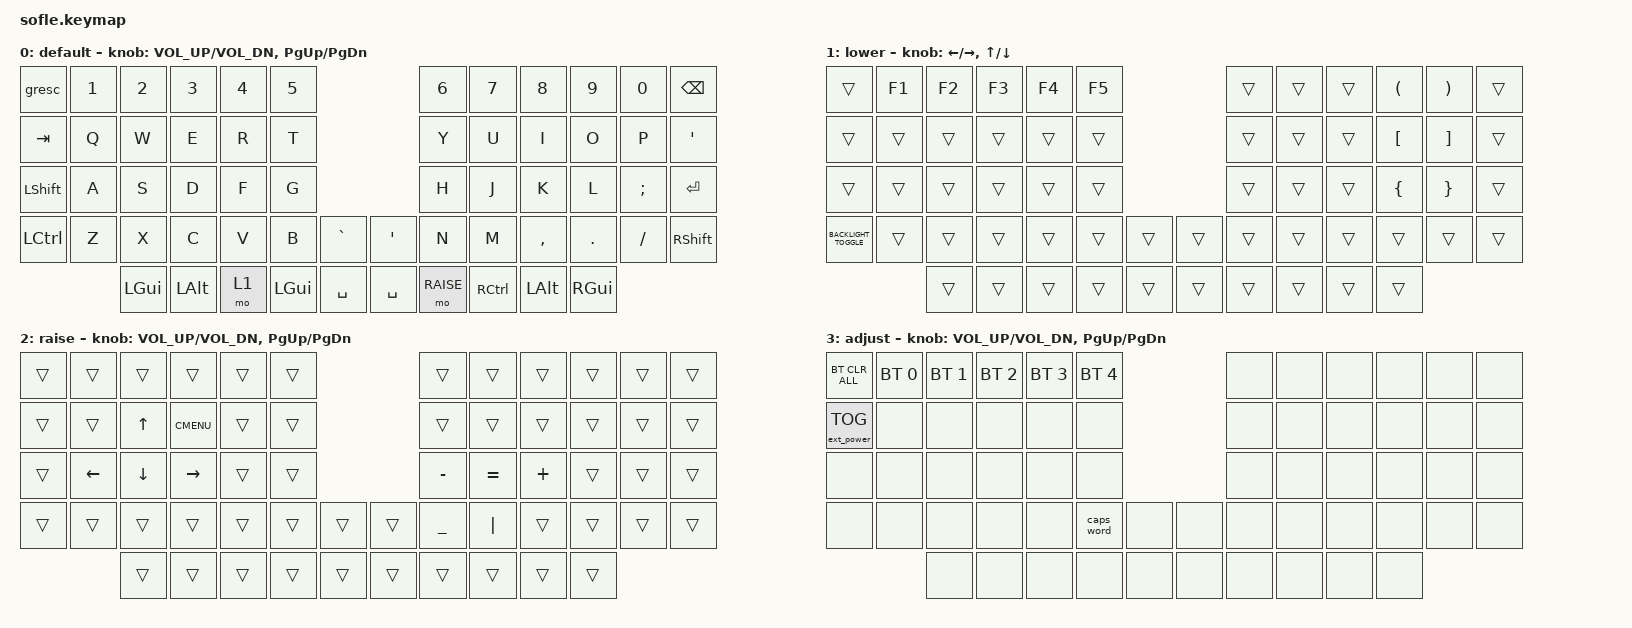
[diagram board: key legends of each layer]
/*
 * Copyright (c) 2020 The ZMK Contributors
 *
 * SPDX-License-Identifier: MIT
 */

#include <behaviors.dtsi>
#include <dt-bindings/zmk/bt.h>
#include <dt-bindings/zmk/ext_power.h>
#include <dt-bindings/zmk/keys.h>

#define BASE 0
#define LOWER 1
#define RAISE 2
#define ADJUST 3

/ {
    // Activate ADJUST layer by pressing raise and lower

    conditional_layers {
        compatible = "zmk,conditional-layers";

        adjust_layer {
            if-layers = <LOWER RAISE>;
            then-layer = <ADJUST>;
        };
    };

    combos {
        compatible = "zmk,combos";

        backspace {
            bindings = <&kp BACKSPACE>;
            key-positions = <32 31>;
        };

        delete {
            bindings = <&kp DELETE>;
            key-positions = <27 33>;
        };

        esc {
            bindings = <&kp ESCAPE>;
            key-positions = <25 41>;
        };
    };

    behaviors {
        caps: caps {
            compatible = "zmk,behavior-caps-word";
            label = "CAPS";
            #binding-cells = <0>;
            continue-list = <POUND MINUS BACKSPACE UNDERSCORE>;
        };
    };

    keymap {
        compatible = "zmk,keymap";

        default_layer {
            display-name = "default";

            // ------------------------------------------------------------------------------------------------------------
            // |   `   |  1  |  2  |  3   |  4   |  5   |                   |  6   |  7    |  8    |  9   |   0   |       |
            // |  ESC  |  Q  |  W  |  E   |  R   |  T   |                   |  Y   |  U    |  I    |  O   |   P   | BKSPC |
            // |  TAB  |  A  |  S  |  D   |  F   |  G   |                   |  H   |  J    |  K    |  L   |   ;   |   '   |
            // | SHIFT |  Z  |  X  |  C   |  V   |  B   |  MUTE  |  |       |  N   |  M    |  ,    |  .   |   /   | SHIFT |
            //               | GUI | ALT  | CTRL | LOWER|  ENTER |  | SPACE | RAISE| CTRL  | ALT   | GUI  |

            bindings = <
&gresc            &kp N1  &kp N2    &kp N3    &kp N4  &kp N5                                &kp N6     &kp N7     &kp N8     &kp N9    &kp N0    &kp BACKSPACE
&kp TAB           &kp Q   &kp W     &kp E     &kp R   &kp T                                 &kp Y      &kp U      &kp I      &kp O     &kp P     &kp SINGLE_QUOTE
&kp LEFT_SHIFT    &kp A   &kp S     &kp D     &kp F   &kp G                                 &kp H      &kp J      &kp K      &kp L     &kp SEMI  &kp ENTER
&kp LEFT_CONTROL  &kp Z   &kp X     &kp C     &kp V   &kp B         &kp GRAVE    &kp APOS   &kp N      &kp M      &kp COMMA  &kp DOT   &kp FSLH  &kp RSHFT
                          &kp LGUI  &kp LALT  &mo 1   &kp LEFT_GUI  &kp SPACE    &kp SPACE  &mo RAISE  &kp RCTRL  &kp LALT   &kp RGUI
            >;

            sensor-bindings = <&inc_dec_kp C_VOL_UP C_VOL_DN &inc_dec_kp PG_UP PG_DN>;
        };

        lower_layer {
            display-name = "lower";

            // TODO: Some binds are waiting for shifted keycode support.
            // ------------------------------------------------------------------------------------------------------------
            // |       |  F1 |  F2 |  F3  |  F4  |  F5  |                   |  F6  |  F7   |  F8   |  F9  |  F10  |  F11  |
            // |   `   |  1  |  2  |  3   |  4   |  5   |                   |  6   |  7    |  8    |  9   |   0   |  F12  |
            // |       |  !  |  @  |  #   |  $   |  %   |                   |  ^   |  &    |  *    |  (   |   )   |   |   |
            // |       |  =  |  -  |  +   |  {   |  }   |        |  |       |  [   |  ]    |  ;    |  :   |   \   |       |
            //               |     |      |      |      |        |  |       |      |       |       |      |

            bindings = <
&trans                  &kp F1  &kp F2  &kp F3  &kp F4  &kp F5                    &trans  &trans  &trans  &kp LEFT_PARENTHESIS  &kp RIGHT_PARENTHESIS  &trans
&trans                  &trans  &trans  &trans  &trans  &trans                    &trans  &trans  &trans  &kp LEFT_BRACKET      &kp RIGHT_BRACKET      &trans
&trans                  &trans  &trans  &trans  &trans  &trans                    &trans  &trans  &trans  &kp LEFT_BRACE        &kp RIGHT_BRACE        &trans
&kp C_BACKLIGHT_TOGGLE  &trans  &trans  &trans  &trans  &trans  &trans    &trans  &trans  &trans  &trans  &trans                &trans                 &trans
                                &trans  &trans  &trans  &trans  &trans    &trans  &trans  &trans  &trans  &trans
            >;

            sensor-bindings =
                <&inc_dec_kp LEFT_ARROW RIGHT_ARROW>,
                <&inc_dec_kp UP_ARROW DOWN_ARROW>;
        };

        raise_layer {
            display-name = "raise";

            // ------------------------------------------------------------------------------------------------------------
            // | BTCLR | BT1  | BT2  |  BT3  |  BT4  |  BT5 |                |      |      |       |      |       |       |
            // |       | INS  | PSCR | GUI   |       |      |                | PGUP |      |   ^   |      |       |       |
            // |       | ALT  | CTRL | SHIFT |       | CAPS |                | PGDN |   <- |   v   |  ->  |  DEL  | BKSPC |
            // |       | UNDO | CUT  | COPY  | PASTE |      |      |  |      |      |      |       |      |       |       |
            //                |      |       |       |      |      |  |      |      |      |       |      |

            bindings = <
&trans  &trans    &trans        &trans       &trans  &trans                    &trans          &trans     &trans    &trans  &trans  &trans
&trans  &trans    &kp UP_ARROW  &kp K_CMENU  &trans  &trans                    &trans          &trans     &trans    &trans  &trans  &trans
&trans  &kp LEFT  &kp DOWN      &kp RIGHT    &trans  &trans                    &kp MINUS       &kp EQUAL  &kp PLUS  &trans  &trans  &trans
&trans  &trans    &trans        &trans       &trans  &trans  &trans    &trans  &kp UNDERSCORE  &kp PIPE   &trans    &trans  &trans  &trans
                  &trans        &trans       &trans  &trans  &trans    &trans  &trans          &trans     &trans    &trans
            >;

            sensor-bindings = <&inc_dec_kp C_VOL_UP C_VOL_DN &inc_dec_kp PG_UP PG_DN>;
        };

        adjust_layer {
            // ----------------------------------------------------------------------------------------------------------------------------
            // | BTCLR  |  BT1    |  BT2    |   BT3   |   BT4   |   BT5   |                  |      |      |       |      |       |       |
            // | EXTPWR | RGB_HUD | RGB_HUI | RGB_SAD | RGB_SAI | RGB_EFF |                  |      |      |       |      |       |       |
            // |        | RGB_BRD | RGB_BRI |         |         |         |                  |      |      |       |      |       |       |
            // |        |         |         |         |         |         | RGB_TOG | |      |      |      |       |      |       |       |
            //                    |         |         |         |         |         | |      |      |      |       |      |

            display-name = "adjust";
            bindings = <
&bt BT_CLR_ALL     &bt BT_SEL 0  &bt BT_SEL 1  &bt BT_SEL 2  &bt BT_SEL 3  &bt BT_SEL 4                  &none  &none  &none  &none  &none  &none
&ext_power EP_TOG  &none         &none         &none         &none         &none                         &none  &none  &none  &none  &none  &none
&none              &none         &none         &none         &none         &none                         &none  &none  &none  &none  &none  &none
&none              &none         &none         &none         &none         &caps_word    &none    &none  &none  &none  &none  &none  &none  &none
                                 &none         &none         &none         &none         &none    &none  &none  &none  &none  &none
            >;

            sensor-bindings = <&inc_dec_kp C_VOL_UP C_VOL_DN &inc_dec_kp PG_UP PG_DN>;
        };
    };
};
